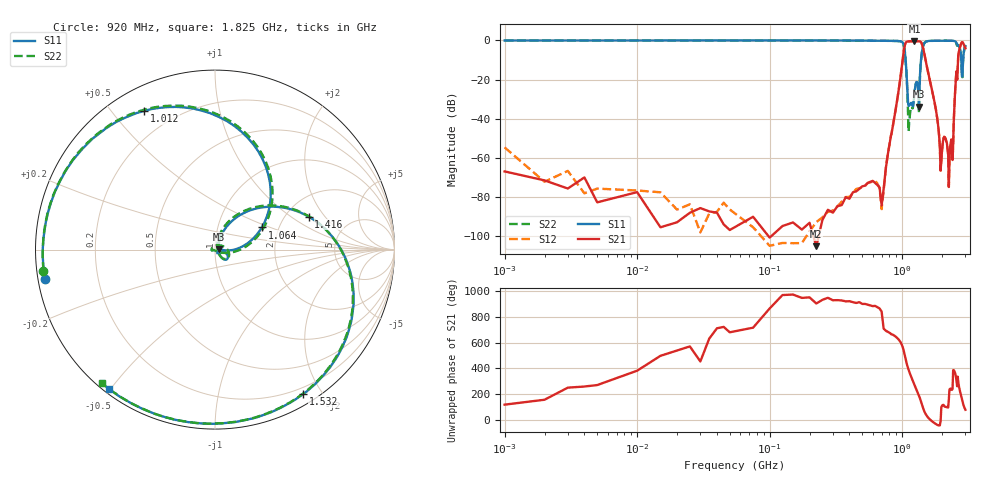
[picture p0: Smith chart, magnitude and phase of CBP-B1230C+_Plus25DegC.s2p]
! Mini-Circuits
! S2P DATA File Format
! Type: BAND PASS FILTER
! Model: CBP-B1230C+
! All S Parameters are in dB deg format
! TEST CONDITIONS: INPUT POWER = 0 dBm @ Temperature = +25deg C
! 453 Frequency points
# MHz S DB R 50
!Frequency  S11 dB  S11 DEG  S21 dB  S21 DEG  S12 dB  S12 DEG  S22 dB  S22 DEG
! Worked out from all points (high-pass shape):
!   453 points, 1 MHz to 3 GHz, reference 50 ohm
!   highest |S21| = -0.44 dB at 1.238 GHz (marker M1); lowest = -105.1 dB at 225 MHz (marker M2)
!   |S21| within 3 dB of the highest: 1.04 GHz to 1.433 GHz (392.7 MHz wide, 31.8 % of centre); 2.733 GHz to 2.972 GHz (239.1 MHz wide, 8.38 % of centre)
!   lowest |S11| = -33.8 dB at 1.338 GHz (marker M3), VSWR 1.04, Z = 52.1 + j0.193 ohm
!   |S11| at or under -10 dB: 1.062 GHz to 1.388 GHz (326.3 MHz wide, 26.6 % of centre); 2.795 GHz to 2.884 GHz (89.28 MHz wide, 3.14 % of centre)
!   |S22| runs from -46.5 to 0.0 dB; largest |S21 - S12| = 0.002
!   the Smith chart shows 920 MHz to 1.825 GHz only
!   S11 on the Smith chart (normalised r, x): 920 MHz: 0.02, -0.09; 1.012 GHz: 0.10, +0.61; 1.064 GHz: 1.63, +0.44; 1.416 GHz: 2.64, +1.40; 1.532 GHz: 0.12, -1.78; 1.825 GHz: 0.02, -0.50
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1  -0.07 -0.1  -66.92 117.8  -54.66 11.5  -0.07 -0.2
4  -0.07 -0.7  -69.98 -101.1  -78.10 135.4  -0.06 -0.6
15  -0.06 -2.1  -95.45 137.9  -77.58 -33.1  -0.06 -2.1
75  -0.05 -10.4  -90.07 -3.0  -95.43 -48.4  -0.05 -10.6
225  -0.05 -31.4  -105.09 -174.8  -92.80 -131.9  -0.06 -31.9
675  -0.18 -101.8  -75.10 146.9  -75.38 154.1  -0.19 -104.0
790  -0.24 -126.8  -55.80 -38.2  -55.91 -39.0  -0.24 -129.3
920  -0.33 -170.2  -29.89 -84.2  -29.89 -84.2  -0.33 -173.0
1012  -1.23 117.1  -9.14 -157.7  -9.13 -157.7  -1.23 114.9
1064  -10.78 25.3  -1.19 107.3  -1.18 107.3  -10.85 22.7
1118  -33.32 21.3  -0.54 29.1  -0.54 29.0  -46.45 -119.8
1238  -26.65 -13.8  -0.44 -87.1  -0.44 -87.2  -26.53 25.0
1338  -33.82 5.2  -0.45 -170.6  -0.45 -170.6  -37.06 6.8
1416  -5.14 19.4  -2.25 112.4  -2.24 112.5  -5.15 19.8
1532  -0.51 -58.6  -12.94 31.4  -12.94 31.3  -0.51 -60.7
1825  -0.21 -127.2  -38.25 -37.8  -38.24 -37.7  -0.21 -130.2
2275  -0.17 166.0  -60.78 -123.1  -60.65 -122.5  -0.16 164.8
2500  -0.44 106.5  -28.17 8.6  -28.15 8.6  -0.45 106.1
2575  -1.54 39.0  -15.64 -62.3  -15.63 -62.4  -1.98 25.6
2675  -2.79 -172.2  -5.89 -93.5  -5.88 -93.5  -2.56 168.4
2800  -10.81 102.9  -1.32 176.3  -1.32 176.2  -10.83 95.4
3000  -2.89 166.2  -4.09 78.1  -4.09 78.1  -2.87 163.4
